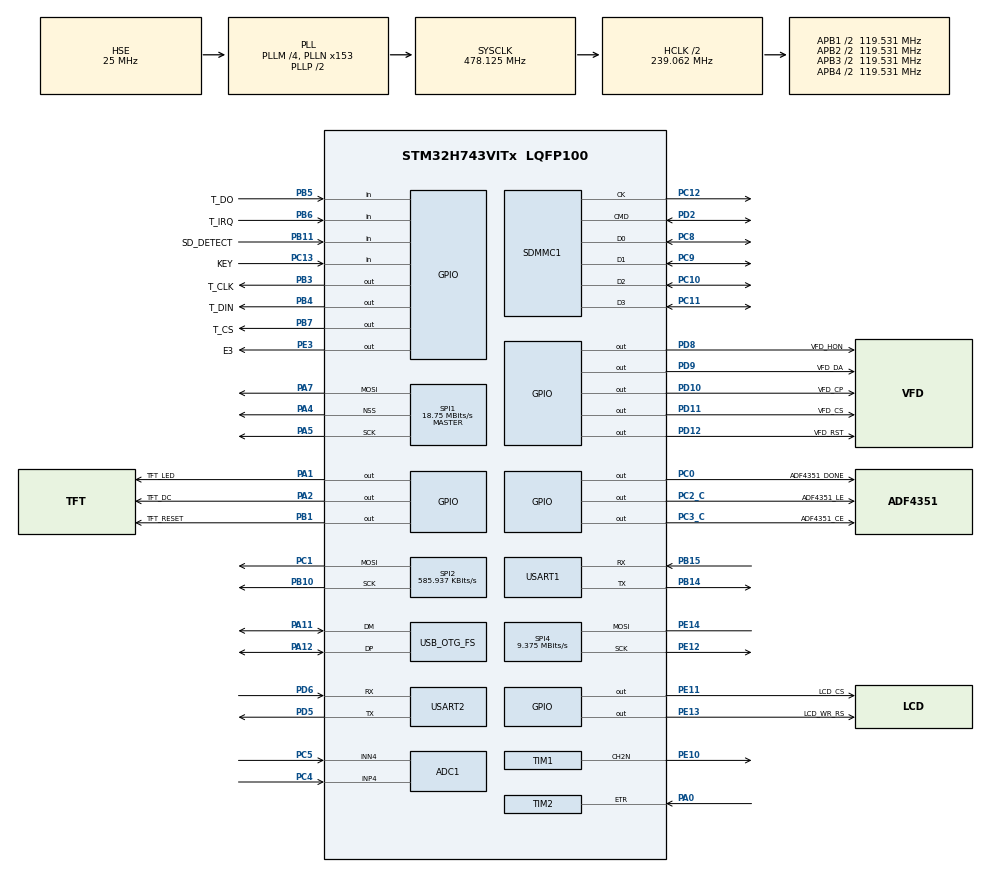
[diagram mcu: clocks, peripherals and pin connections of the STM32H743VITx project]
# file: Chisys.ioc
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RCC.DFSDMCLockSelection=RCC_DFSDM1CLKSOURCE_D2PCLK1
VP_TIM5_VS_ClockSourceINT.Mode=Internal
PD12.GPIO_Label=VFD_RST
PE14.GPIO_Speed=GPIO_SPEED_FREQ_HIGH
SPI4.VirtualType=VM_MASTER
FATFS._USE_LFN=3
SPI1.VirtualType=VM_MASTER
SPI2.VirtualType=VM_MASTER
PB10.Mode=TX_Only_Simplex_Unidirect_Master
RCC.PLL2_VCI_Range-AdvancedSettings=RCC_PLL2VCIRANGE_0
PC12.Signal=SDMMC1_CK
PC0.GPIO_ModeDefaultOutputPP=GPIO_MODE_OUTPUT_OD
PB6.GPIO_Label=T_IRQ
NVIC.OTG_FS_EP1_IN_IRQn=true\:5\:0\:false\:false\:true\:true\:true\:true
RCC.SYSCLKSource=RCC_SYSCLKSOURCE_PLLCLK
RCC.SPI123CLockSelection=RCC_SPI123CLKSOURCE_PLL2
NVIC.SDMMC1_IRQn=true\:5\:0\:false\:false\:true\:true\:true\:true
PA14\ (JTCK/SWCLK).Signal=DEBUG_JTCK-SWCLK
PA4.Mode=NSS_Signal_Hard_Output
RCC.I2C4CLockSelection=RCC_I2C4CLKSOURCE_D3PCLK1
RCC.PLL3_VCI_Range=RCC_PLL3VCIRANGE_0
NVIC.TIM5_IRQn=true\:5\:0\:false\:false\:true\:true\:true\:true
RCC.RCC_MCO2Source=RCC_MCO2SOURCE_SYSCLK
RCC.ADCCLockSelection=RCC_ADCCLKSOURCE_PLL2
SPI1.Direction=SPI_DIRECTION_2LINES_TXONLY
PB6.Signal=GPIO_Input
SPI1.CalculateBaudRate=18.75 MBits/s
PD8.Signal=GPIO_Output
SH.ADCx_INP4.0=ADC1_INP4,IN4-Differential
USB_OTG_FS.phy_itface=HCD_PHY_EMBEDDED
RCC.I2C123CLockSelection=RCC_I2C123CLKSOURCE_D2PCLK1
RCC.DIVM3=2
RCC.DIVM2=2
RCC.DIVM1=4
PC2_C.GPIO_Speed=GPIO_SPEED_FREQ_HIGH
RCC.SAI1CLockSelection=RCC_SAI1CLKSOURCE_PLL
PB1.GPIO_Speed=GPIO_SPEED_FREQ_HIGH
RCC.LPTIM345CLockSelection=RCC_LPTIM345CLKSOURCE_D3PCLK1
PB14.Mode=Asynchronous
RCC.SPDIFCLockSelection=RCC_SPDIFRXCLKSOURCE_PLL
PB1.GPIO_Label=TFT_RESET
SPI1.DataSize=SPI_DATASIZE_8BIT
PC9.Mode=SD_4_bits_Wide_bus
SPI2.CalculateBaudRate=585.937 KBits/s
PA14\ (JTCK/SWCLK).Mode=Serial_Wire
SPI1.VirtualNSS=VM_NSSHARD
RCC.PLL2_VCO_SEL-AdvancedSettings=RCC_PLL2VCOMEDIUM
RCC.DSI_PHY_VALUE=12288000
PE10.Signal=TIM1_CH2N
RCC.CKPERSourceSelection=RCC_CLKPSOURCE_HSI
RCC.SAI23CLockSelection=RCC_SAI23CLKSOURCE_PLL
PA0.Signal=S_TIM2_ETR
Mcu.Package=LQFP100
TIM2.Prescaler=0
PB1.Signal=GPIO_Output
NVIC.TimeBase=TIM4_IRQn
SPI2.Mode=SPI_MODE_MASTER
PD12.Signal=GPIO_Output
NVIC.TimeBaseIP=TIM4
PC3_C.GPIO_Label=ADF4351_CE
PC3_C.GPIO_Speed=GPIO_SPEED_FREQ_HIGH
PA1.PinState=GPIO_PIN_SET
PE12.GPIO_Speed=GPIO_SPEED_FREQ_HIGH
PC11.Mode=SD_4_bits_Wide_bus
PC14-OSC32_IN\ (OSC32_IN).Mode=LSE-External-Oscillator
RCC.APB4Freq_Value=119531250
RCC.FDCANCLockSelection=RCC_FDCANCLKSOURCE_PLL
TIM1.Period=1000-1
PA12.GPIO_PuPd=GPIO_NOPULL
VP_LIBJPEG_VS_JPEGLIB.Mode=Enabled
PH0-OSC_IN\ (PH0).Mode=HSE-External-Oscillator
RCC.PLLDSIDev=2
PA5.Mode=TX_Only_Simplex_Unidirect_Master
PE12.Mode=Simplex_Bidirectional_Master
RCC.DIVQ3=8
RCC.DIVQ1=24
FREERTOS.Tasks01=defaultTask,24,128,StartDefaultTask,Default,NULL,Dynamic,NULL,NULL
PD9.GPIO_Label=VFD_DA
RCC.DSICLockSelection=RCC_DSICLKSOURCE_PHY
PE11.GPIO_Speed=GPIO_SPEED_FREQ_VERY_HIGH
PC13.Signal=GPIO_Input
PB6.GPIO_PuPd=GPIO_PULLUP
PE10.Mode=PWM Generation2 CH2N
PB11.GPIO_Label=SD_DETECT
RCC.DIVP2=4
PC0.Signal=GPIO_Output
PD6.Mode=Asynchronous
PA0.GPIO_Speed=GPIO_SPEED_FREQ_VERY_HIGH
PD10.Signal=GPIO_Output
PA2.PinAttribute=Free
RCC.DIVN3=12
RCC.CECCLockSelection=RCC_CECCLKSOURCE_LSI
RCC.DIVN2=12
RCC.DIVN1=153
VP_TIM8_VS_ClockSourceINT.Mode=Internal
PB10.Signal=SPI2_SCK
PB14.Signal=USART1_TX
PA5.Signal=SPI1_SCK
PC12.Mode=SD_4_bits_Wide_bus
PA7.GPIO_Speed=GPIO_SPEED_FREQ_VERY_HIGH
PC2_C.GPIO_Label=ADF4351_LE
PE14.Signal=SPI4_MOSI
RCC.RNGCLockSelection=RCC_RNGCLKSOURCE_HSI48
RCC.FMCCLockSelection=RCC_FMCCLKSOURCE_D1HCLK
SPI1.Mode=SPI_MODE_MASTER
PA1.GPIO_Label=TFT_LED
PC1.GPIO_Speed=GPIO_SPEED_FREQ_HIGH
TIM2.Period=4294967295
SH.ADCx_INN4.0=ADC1_INN4,IN4-Differential
TIM8.Period=1000-1
PC8.Mode=SD_4_bits_Wide_bus
PA4.Signal=SPI1_NSS
ADC1.SamplingTime-1\#ChannelRegularConversion=ADC_SAMPLETIME_8CYCLES_5
PB5.Signal=GPIO_Input
ADC1.master=1
RCC.Spi45ClockSelection=RCC_SPI45CLKSOURCE_PLL3
PE13.GPIO_Label=LCD_WR_RS
PD11.Signal=GPIO_Output
PB5.GPIO_PuPd=GPIO_PULLUP
ADC1.Rank-1\#ChannelRegularConversion=1
PA11.Signal=USB_OTG_FS_DM
ProjectManager.HeapSize=0x600
VP_SYS_VS_tim4.Mode=TIM4
NVIC.PriorityGroup=NVIC_PRIORITYGROUP_4
RCC.USART234578CLockSelection=RCC_USART234578CLKSOURCE_PLL3
PE3.Signal=GPIO_Output
TIM2.AutoReloadPreload=TIM_AUTORELOAD_PRELOAD_ENABLE
SPI2.DataSize=SPI_DATASIZE_8BIT
PB4\ (NJTRST).GPIO_Label=T_DIN
PD2.Signal=SDMMC1_CMD
RCC.DIVR2=16
RCC.PLL2_VCI_Range=RCC_PLL2VCIRANGE_0
PC1.Signal=SPI2_MOSI
PA13\ (JTMS/SWDIO).Signal=DEBUG_JTMS-SWDIO
PC1.Mode=TX_Only_Simplex_Unidirect_Master
Mcu.Family=STM32H7
ADC1.OffsetSignedSaturation-1\#ChannelRegularConversion=DISABLE
RCC.CortexFreq_Value=478125000
RCC.PLLDSIIDF=DSI_PLL_IN_DIV1
PB10.GPIO_Speed=GPIO_SPEED_FREQ_HIGH
RCC.HPRE=RCC_HCLK_DIV2
PH0-OSC_IN\ (PH0).Signal=RCC_OSC_IN
PE11.GPIO_Label=LCD_CS
PC10.Signal=SDMMC1_D2
PC15-OSC32_OUT\ (OSC32_OUT).Mode=LSE-External-Oscillator
SPI4.Direction=SPI_DIRECTION_1LINE
PA2.GPIO_Speed=GPIO_SPEED_FREQ_VERY_HIGH
PC0.GPIO_Label=ADF4351_DONE
PA11.Mode=Host_Only
SDMMC1.ClockDiv=5
RCC.PLL1_VCO_SEL-AdvancedSettings=RCC_PLL1VCOMEDIUM
RCC.RC48_VALUE=48000000
PA11.GPIO_PuPd=GPIO_NOPULL
PB11.GPIO_PuPd=GPIO_PULLDOWN
PC13.GPIO_Label=KEY
PB11.Signal=GPIO_Input
PB15.Signal=USART1_RX
ProjectManager.StackSize=0x1000
RCC.DSIPHY_Div=8
VP_FREERTOS_VS_CMSIS_V2.Mode=CMSIS_V2
RCC.LPUART1CLockSelection=RCC_LPUART1CLKSOURCE_D3PCLK1
PA12.Signal=USB_OTG_FS_DP
TIM1.Prescaler=12-1
SPI4.Mode=SPI_MODE_MASTER
PD11.GPIO_Label=VFD_CS
RCC.HCLKFreq_Value=239062500
PE13.PinAttribute=Free
PC2_C.Signal=GPIO_Output
SPI2.BaudRatePrescaler=SPI_BAUDRATEPRESCALER_64
PD5.Mode=Asynchronous
PH1-OSC_OUT\ (PH1).Mode=HSE-External-Oscillator
RCC.HSE_VALUE=25000000
USART2.VirtualMode-Asynchronous=VM_ASYNC
RCC.RCC_MCO1Source=RCC_MCO1SOURCE_HSI
RCC.LPTIM2CLockSelection=RCC_LPTIM2CLKSOURCE_D3PCLK1
PE13.Signal=GPIO_Output
RCC.PLL1_VCI_Range-AdvancedSettings=RCC_PLL1VCIRANGE_0
PC13.GPIO_PuPd=GPIO_PULLDOWN
PB7.Signal=GPIO_Output
RCC.FLatency-AdvancedSettings=FLASH_LATENCY_0
RCC.APB3Freq_Value=119531250
PB1.PinState=GPIO_PIN_SET
PB7.GPIO_Label=T_CS
RCC.SAI4ACLockSelection=RCC_SAI4ACLKSOURCE_PLL
RCC.D1PPRE=RCC_APB3_DIV2
RCC.SDMMC1CLockSelection=RCC_SDMMCCLKSOURCE_PLL2
NVIC.OTG_FS_IRQn=true\:5\:0\:false\:false\:true\:true\:true\:true
PA0.GPIO_PuPd=GPIO_PULLUP
PA2.GPIO_Label=TFT_DC
USB_OTG_FS.VirtualMode=Host_Only
ADC1.OffsetNumber-1\#ChannelRegularConversion=ADC_OFFSET_NONE
TIM8.Prescaler=2400-1
FATFS._FS_LOCK=5
TIM1.Channel-PWM\ Generation2\ CH2N=TIM_CHANNEL_2
PB5.GPIO_Label=T_DO
PE12.PinAttribute=Free
FATFS._FS_RPATH=2
SPI2.Direction=SPI_DIRECTION_2LINES_TXONLY
PC5.Signal=ADCx_INN4
PD6.Signal=USART2_RX
SPI1.BaudRatePrescaler=SPI_BAUDRATEPRESCALER_2
PB3\ (JTDO/TRACESWO).GPIO_Label=T_CLK
CORTEX_M7.CPU_ICache=Enabled
PA7.Mode=TX_Only_Simplex_Unidirect_Master
PA13\ (JTMS/SWDIO).Mode=Serial_Wire
SPI4.DataSize=SPI_DATASIZE_8BIT
PD6.PinAttribute=Free
RCC.SAI4BCLockSelection=RCC_SAI4BCLKSOURCE_PLL
FATFS._USE_MUTEX=1
PC11.Signal=SDMMC1_D3
RCC.DSITX_Div=4
PC8.Signal=SDMMC1_D0
PC4.Signal=ADCx_INP4
PC10.Mode=SD_4_bits_Wide_bus
RCC.D2PPRE2=RCC_APB2_DIV2
RCC.D2PPRE1=RCC_APB1_DIV2
RCC.EXTERNAL_CLOCK_VALUE=12288000
PD9.Signal=GPIO_Output
PD5.Signal=USART2_TX
RCC.Cortex_DivARG=SystemCoreClock/1000
PH1-OSC_OUT\ (PH1).Signal=RCC_OSC_OUT
TIM5.AutoReloadPreload=TIM_AUTORELOAD_PRELOAD_DISABLE
PD8.GPIO_Label=VFD_HON
USART1.VirtualMode-Asynchronous=VM_ASYNC
RCC.PLL3_VCO_SEL=RCC_PLL3VCOMEDIUM
CORTEX_M7.MPU_Control=__NULL
PC0.GPIO_Speed=GPIO_SPEED_FREQ_VERY_HIGH
PB3\ (JTDO/TRACESWO).Signal=GPIO_Output
ProjectManager.TargetToolchain=STM32CubeIDE
PC15-OSC32_OUT\ (OSC32_OUT).Signal=RCC_OSC32_OUT
FATFS._CODE_PAGE=936
RCC.SPI6CLockSelection=RCC_SPI6CLKSOURCE_D3PCLK1
PE11.PinAttribute=Free
ADC1.Channel-1\#ChannelRegularConversion=ADC_CHANNEL_4
RCC.LPTIM1CLockSelection=RCC_LPTIM1CLKSOURCE_D2PCLK1
RCC.SWPCLockSelection=RCC_SWPMI1CLKSOURCE_D2PCLK1
RCC.USBFreq_Value=39843750
PD10.GPIO_Label=VFD_CP
PE11.Signal=GPIO_Output
PA1.Signal=GPIO_Output
VP_FATFS_VS_Generic.Mode=User_defined
PD2.Mode=SD_4_bits_Wide_bus
FATFS._STRF_ENCODE=3
board=custom
PB15.Mode=Asynchronous
RCC.APB2Freq_Value=119531250
ADC1.SingleDiff-1\#ChannelRegularConversion=ADC_DIFFERENTIAL_ENDED
TIM1.OCNPolarity_2=TIM_OCNPOLARITY_LOW
RCC.PLLDSINDIV=20
PA1.GPIO_Speed=GPIO_SPEED_FREQ_VERY_HIGH
PE14.Mode=Simplex_Bidirectional_Master
RCC.ADCFreq_Value=37500000
RCC.PLLDSIODF=DSI_PLL_OUT_DIV1
SPI4.CalculateBaudRate=9.375 MBits/s
RCC.CSI_VALUE=4000000
RCC.PLLDSIMult=2
Mcu.Name=STM32H743VITx
RCC.PLL3_VCI_Range-AdvancedSettings=RCC_PLL3VCIRANGE_3
PE12.Signal=SPI4_SCK
NVIC.OTG_FS_EP1_OUT_IRQn=true\:5\:0\:false\:false\:true\:true\:true\:true
PA2.Signal=GPIO_Output
RCC.SYSCLKFreq_VALUE=478125000
SH.S_TIM2_ETR.0=TIM2_ETR,ClockSourceETR_Mode2
PA12.Mode=Host_Only
TIM5.Prescaler=24000-1
PC14-OSC32_IN\ (OSC32_IN).Signal=RCC_OSC32_IN
SPI2.FirstBit=SPI_FIRSTBIT_MSB
RCC.QSPICLockSelection=RCC_QSPICLKSOURCE_D1HCLK
RCC.HSI_VALUE=64000000
PD5.PinAttribute=Free
PA5.GPIO_Speed=GPIO_SPEED_FREQ_VERY_HIGH
ADC1.NbrOfConversionFlag=1
PC3_C.Signal=GPIO_Output
PE13.GPIO_Speed=GPIO_SPEED_FREQ_VERY_HIGH
PE3.GPIO_Label=E3
RCC.D3PPRE=RCC_APB4_DIV2
TIM5.Period=1000-1
PC9.Signal=SDMMC1_D1
CORTEX_M7.CPU_DCache=Enabled
NVIC.TIM4_IRQn=true\:0\:0\:false\:false\:true\:false\:false\:true
RCC.APB1Freq_Value=119531250
VP_CRC_VS_CRC.Mode=CRC_Activate
RCC.USART16CLockSelection=RCC_USART16CLKSOURCE_PLL3
PA7.Signal=SPI1_MOSI
PB4\ (NJTRST).Signal=GPIO_Output

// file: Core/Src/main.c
/* USER CODE BEGIN Header */
/**
 ******************************************************************************
 * @file           : main.c
 * @brief          : Main program body
 ******************************************************************************
 * @attention
 *
 * <h2><center>&copy; Copyright (c) 2021 STMicroelectronics.
 * All rights reserved.</center></h2>
 *
 * This software component is licensed by ST under BSD 3-Clause license,
 * the "License"; You may not use this file except in compliance with the
 * License. You may obtain a copy of the License at:
 *                        opensource.org/licenses/BSD-3-Clause
 *
 ******************************************************************************
 */
/* USER CODE END Header */
#include "main.h"
#include "cmsis_os.h"
#include "adc.h"
#include "crc.h"
#include "fatfs.h"
#include "libjpeg.h"
#include "sdmmc.h"
#include "spi.h"
#include "tim.h"
#include "usart.h"
#include "usb_otg.h"
#include "gpio.h"

/* USER CODE BEGIN Includes */
#include <stdio.h>
#include <string.h>

#include "ADF4351.h"
#include "GUI.h"
#include "ili9488.h"
#include "lcd.h"
#include "touch.h"
/* USER CODE END Includes */

void SystemClock_Config(void);
void PeriphCommonClock_Config(void);
void MX_FREERTOS_Init(void);

int main(void)
{

  /* Enable I-Cache---------------------------------------------------------*/
  SCB_EnableICache();

  /* Enable D-Cache---------------------------------------------------------*/
  SCB_EnableDCache();

  /* MCU Configuration--------------------------------------------------------*/

  /* Reset of all peripherals, Initializes the Flash interface and the Systick. */
  HAL_Init();

  /* Configure the system clock */
  SystemClock_Config();

/* Configure the peripherals common clocks */
  PeriphCommonClock_Config();

  /* Initialize all configured peripherals */
  MX_GPIO_Init();
  MX_SDMMC1_SD_Init();
  MX_SPI4_Init();
  MX_TIM1_Init();
  MX_USART1_UART_Init();
  MX_FATFS_Init();
  MX_USART2_UART_Init();
  MX_SPI1_Init();
  MX_SPI2_Init();
  MX_TIM2_Init();
  MX_TIM5_Init();
  MX_ADC1_Init();
  MX_CRC_Init();
  MX_LIBJPEG_Init();
  MX_TIM8_Init();
  MX_USB_OTG_FS_HCD_Init();
  /* USER CODE BEGIN 2 */
  LCD_Init();

  //	USB_HC_Init(hhcd_USB_OTG_FS.Instance, ch_num, epnum, dev_address, speed,
  // ep_type, mps);

  GUI_Init();
  HAL_TIM_Base_Start(&htim2);
  HAL_TIM_Base_Start_IT(&htim2);
  HAL_TIM_Base_Start_IT(&htim5);
  HAL_TIM_Base_Start_IT(&htim8);
  TP_Init();

  ADF4351_Init();

  FRESULT res = FR_OK;
  DIR dp;
  retSD = f_mount(&SDFatFS, SDPath, 0);
  if (retSD != FR_OK) Error_Handler();
  do {
    HAL_Delay(100);
    res = f_opendir(&dp, "0:/");
  } while (res == FR_NOT_READY);
  f_closedir(&dp);

  /* USER CODE END 2 */

  /* Init scheduler */
  osKernelInitialize();  /* Call init function for freertos objects (in freertos.c) */
  MX_FREERTOS_Init();
  /* Start scheduler */
  osKernelStart();

  /* We should never get here as control is now taken by the scheduler */
  /* Infinite loop */
  while (1) {

  }
}

void SystemClock_Config(void)
{
  RCC_OscInitTypeDef RCC_OscInitStruct = {0};
  RCC_ClkInitTypeDef RCC_ClkInitStruct = {0};

  /** Supply configuration update enable
  */
  HAL_PWREx_ConfigSupply(PWR_LDO_SUPPLY);
  /** Configure the main internal regulator output voltage
  */
  __HAL_PWR_VOLTAGESCALING_CONFIG(PWR_REGULATOR_VOLTAGE_SCALE0);

  while(!__HAL_PWR_GET_FLAG(PWR_FLAG_VOSRDY)) {}
  /** Macro to configure the PLL clock source
  */
  __HAL_RCC_PLL_PLLSOURCE_CONFIG(RCC_PLLSOURCE_HSE);
  /** Initializes the RCC Oscillators according to the specified parameters
  * in the RCC_OscInitTypeDef structure.
  */
  RCC_OscInitStruct.OscillatorType = RCC_OSCILLATORTYPE_HSE;
  RCC_OscInitStruct.HSEState = RCC_HSE_ON;
  RCC_OscInitStruct.PLL.PLLState = RCC_PLL_ON;
  RCC_OscInitStruct.PLL.PLLSource = RCC_PLLSOURCE_HSE;
  RCC_OscInitStruct.PLL.PLLM = 4;
  RCC_OscInitStruct.PLL.PLLN = 153;
  RCC_OscInitStruct.PLL.PLLP = 2;
  RCC_OscInitStruct.PLL.PLLQ = 24;
  RCC_OscInitStruct.PLL.PLLR = 2;
  RCC_OscInitStruct.PLL.PLLRGE = RCC_PLL1VCIRANGE_2;
  RCC_OscInitStruct.PLL.PLLVCOSEL = RCC_PLL1VCOWIDE;
  RCC_OscInitStruct.PLL.PLLFRACN = 0;
  if (HAL_RCC_OscConfig(&RCC_OscInitStruct) != HAL_OK)
  {
    Error_Handler();
  }
  /** Initializes the CPU, AHB and APB buses clocks
  */
  RCC_ClkInitStruct.ClockType = RCC_CLOCKTYPE_HCLK|RCC_CLOCKTYPE_SYSCLK
                              |RCC_CLOCKTYPE_PCLK1|RCC_CLOCKTYPE_PCLK2
                              |RCC_CLOCKTYPE_D3PCLK1|RCC_CLOCKTYPE_D1PCLK1;
  RCC_ClkInitStruct.SYSCLKSource = RCC_SYSCLKSOURCE_PLLCLK;
  RCC_ClkInitStruct.SYSCLKDivider = RCC_SYSCLK_DIV1;
  RCC_ClkInitStruct.AHBCLKDivider = RCC_HCLK_DIV2;
  RCC_ClkInitStruct.APB3CLKDivider = RCC_APB3_DIV2;
  RCC_ClkInitStruct.APB1CLKDivider = RCC_APB1_DIV2;
  RCC_ClkInitStruct.APB2CLKDivider = RCC_APB2_DIV2;
  RCC_ClkInitStruct.APB4CLKDivider = RCC_APB4_DIV2;

  if (HAL_RCC_ClockConfig(&RCC_ClkInitStruct, FLASH_LATENCY_4) != HAL_OK)
  {
    Error_Handler();
  }
}

void PeriphCommonClock_Config(void)
{
  RCC_PeriphCLKInitTypeDef PeriphClkInitStruct = {0};

  /** Initializes the peripherals clock
  */
  PeriphClkInitStruct.PeriphClockSelection = RCC_PERIPHCLK_ADC|RCC_PERIPHCLK_SDMMC
                              |RCC_PERIPHCLK_SPI2|RCC_PERIPHCLK_SPI1
                              |RCC_PERIPHCLK_SPI4|RCC_PERIPHCLK_USART1
                              |RCC_PERIPHCLK_USART2;
  PeriphClkInitStruct.PLL2.PLL2M = 2;
  PeriphClkInitStruct.PLL2.PLL2N = 12;
  PeriphClkInitStruct.PLL2.PLL2P = 4;
  PeriphClkInitStruct.PLL2.PLL2Q = 2;
  PeriphClkInitStruct.PLL2.PLL2R = 16;
  PeriphClkInitStruct.PLL2.PLL2RGE = RCC_PLL2VCIRANGE_0;
  PeriphClkInitStruct.PLL2.PLL2VCOSEL = RCC_PLL2VCOMEDIUM;
  PeriphClkInitStruct.PLL2.PLL2FRACN = 0;
  PeriphClkInitStruct.PLL3.PLL3M = 2;
  PeriphClkInitStruct.PLL3.PLL3N = 12;
  PeriphClkInitStruct.PLL3.PLL3P = 2;
  PeriphClkInitStruct.PLL3.PLL3Q = 8;
  PeriphClkInitStruct.PLL3.PLL3R = 2;
  PeriphClkInitStruct.PLL3.PLL3RGE = RCC_PLL3VCIRANGE_0;
  PeriphClkInitStruct.PLL3.PLL3VCOSEL = RCC_PLL3VCOMEDIUM;
  PeriphClkInitStruct.PLL3.PLL3FRACN = 0;
  PeriphClkInitStruct.SdmmcClockSelection = RCC_SDMMCCLKSOURCE_PLL2;
  PeriphClkInitStruct.Spi123ClockSelection = RCC_SPI123CLKSOURCE_PLL2;
  PeriphClkInitStruct.Spi45ClockSelection = RCC_SPI45CLKSOURCE_PLL3;
  PeriphClkInitStruct.Usart234578ClockSelection = RCC_USART234578CLKSOURCE_PLL3;
  PeriphClkInitStruct.Usart16ClockSelection = RCC_USART16CLKSOURCE_PLL3;
  PeriphClkInitStruct.AdcClockSelection = RCC_ADCCLKSOURCE_PLL2;
  if (HAL_RCCEx_PeriphCLKConfig(&PeriphClkInitStruct) != HAL_OK)
  {
    Error_Handler();
  }
}

/* USER CODE BEGIN 4 */
#ifdef __GNUC__
#define PUTCHAR_PROTOTYPE int __io_putchar(int ch)
#else
#define PUTCHAR_PROTOTYPE int fputc(int ch, FILE *f)
#endif

PUTCHAR_PROTOTYPE {
  HAL_UART_Transmit(&huart1, (uint8_t *)&ch, 1, 0xFFFF);  //阻塞方式打印
  return ch;
}

/* USER CODE END 4 */

 /**
  * @brief  Period elapsed callback in non blocking mode
  * @note   This function is called  when TIM4 interrupt took place, inside
  * HAL_TIM_IRQHandler(). It makes a direct call to HAL_IncTick() to increment
  * a global variable "uwTick" used as application time base.
  * @param  htim : TIM handle
  * @retval None
  */
void HAL_TIM_PeriodElapsedCallback(TIM_HandleTypeDef *htim)
{
  /* USER CODE BEGIN Callback 0 */
  //	static uint8_t buf[32];
  if (htim->Instance == TIM5) {
    HAL_GPIO_TogglePin(E3_GPIO_Port, E3_Pin);
    uint32_t counter = __HAL_TIM_GET_COUNTER(&htim2);
    counter -= counter / 1000;
    __HAL_TIM_SET_COUNTER(&htim2, 0);
    //		double freq = (double) counter * 10 / 1000000;
    //		sprintf((char *)buf, "%8lu %8.4f %4.1f\r\n", counter, freq,
    // freq);
    //		taskENTER_CRITICAL();
    //		HAL_UART_Transmit(&huart1, buf, (uint16_t) strlen((const char*)
    // buf), 				0xffff);
    // taskEXIT_CRITICAL();
  }
  if (htim->Instance == TIM8) {
    // 10ms: GUI 刷新
    //		GUI_TOUCH_Exec();
    //		GUI_TOUCH_Exec();
    //		GUI_Exec();
  }
  /* USER CODE END Callback 0 */
  if (htim->Instance == TIM4) {
    HAL_IncTick();
  }
}

void Error_Handler(void)
{
  /* USER CODE BEGIN Error_Handler_Debug */
  /* User can add his own implementation to report the HAL error return state */
  __disable_irq();
  while (1) {
    HAL_GPIO_TogglePin(E3_GPIO_Port, E3_Pin);
    HAL_Delay(300);
  }
  /* USER CODE END Error_Handler_Debug */
}

#ifdef  USE_FULL_ASSERT
/**
  * @brief  Reports the name of the source file and the source line number
  *         where the assert_param error has occurred.
  * @param  file: pointer to the source file name
  * @param  line: assert_param error line source number
  * @retval None
  */
void assert_failed(uint8_t *file, uint32_t line)
{
  /* USER CODE BEGIN 6 */
  /* User can add his own implementation to report the file name and line
     number,
     ex: printf("Wrong parameters value: file %s on line %d\r\n", file, line) */
  /* USER CODE END 6 */
}
#endif /* USE_FULL_ASSERT */

/************************ (C) COPYRIGHT STMicroelectronics *****END OF FILE****/

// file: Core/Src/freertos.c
/* USER CODE BEGIN Header */
#include "launcher.h"
#include "mainloop.h"
/**
  ******************************************************************************
  * File Name          : freertos.c
  * Description        : Code for freertos applications
  ******************************************************************************
  * @attention
  *
  * <h2><center>&copy; Copyright (c) 2021 STMicroelectronics.
  * All rights reserved.</center></h2>
  *
  * This software component is licensed by ST under Ultimate Liberty license
  * SLA0044, the "License"; You may not use this file except in compliance with
  * the License. You may obtain a copy of the License at:
  *                             www.st.com/SLA0044
  *
  ******************************************************************************
  */
/* USER CODE END Header */

#include "FreeRTOS.h"
#include "task.h"
#include "main.h"
#include "cmsis_os.h"

/* Definitions for defaultTask */
osThreadId_t defaultTaskHandle;
const osThreadAttr_t defaultTask_attributes = {
  .name = "defaultTask",
  .stack_size = 128 * 4,
  .priority = (osPriority_t) osPriorityNormal,
};

void StartDefaultTask(void *argument);

void MX_FREERTOS_Init(void); /* (MISRA C 2004 rule 8.1) */

void MX_FREERTOS_Init(void) {

  /* Create the thread(s) */
  /* creation of defaultTask */
  defaultTaskHandle = osThreadNew(StartDefaultTask, NULL, &defaultTask_attributes);

}

void StartDefaultTask(void *argument)
{
  /* USER CODE BEGIN StartDefaultTask */
  StartLauncherTask();
  StartMainloop();
  /* Infinite loop */
  for(;;)
  {
    osDelay(1000);
  }
  /* USER CODE END StartDefaultTask */
}

/************************ (C) COPYRIGHT STMicroelectronics *****END OF FILE****/
